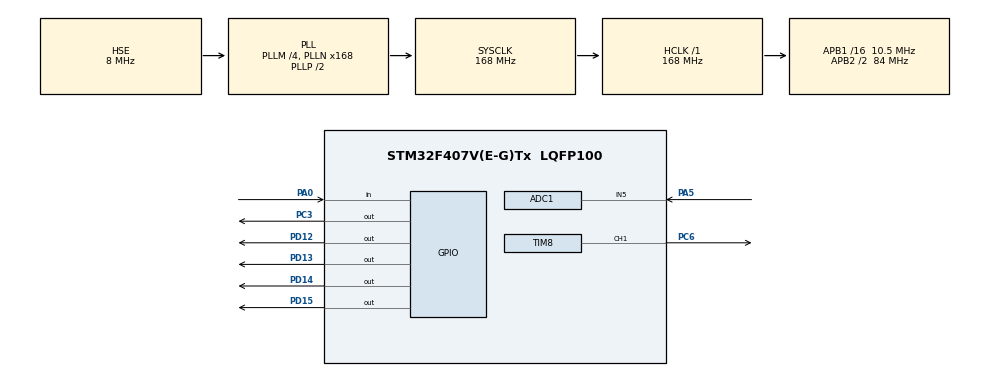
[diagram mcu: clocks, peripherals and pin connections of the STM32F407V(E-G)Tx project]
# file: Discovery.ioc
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ADC1.Channel-4\#ChannelRegularConversion=ADC_CHANNEL_5
ADC1.NbrOfConversionFlag=1
ADC1.Rank-4\#ChannelRegularConversion=1
ADC1.SamplingTime-4\#ChannelRegularConversion=ADC_SAMPLETIME_3CYCLES
ADC1.master=1
Mcu.Family=STM32F4
Mcu.Name=STM32F407V(E-G)Tx
Mcu.Package=LQFP100
Mcu.UserConstants=Value3V,3900
NVIC.ADC_IRQn=true\:0\:0\:false\:false\:true\:true
NVIC.PriorityGroup=NVIC_PRIORITYGROUP_4
NVIC.TIM6_DAC_IRQn=true\:3\:0\:true\:false\:true\:true
NVIC.TIM7_IRQn=true\:3\:0\:true\:false\:true\:true
PA0-WKUP.Signal=GPIO_Input
PA5.Signal=ADCx_IN5
PC3.Signal=GPIO_Output
PC6.GPIO_Speed=GPIO_SPEED_FREQ_HIGH
PC6.Signal=S_TIM8_CH1
PD12.Signal=GPIO_Output
PD13.Signal=GPIO_Output
PD14.Signal=GPIO_Output
PD15.Signal=GPIO_Output
PH0-OSC_IN.Mode=HSE-External-Oscillator
PH0-OSC_IN.Signal=RCC_OSC_IN
PH1-OSC_OUT.Mode=HSE-External-Oscillator
PH1-OSC_OUT.Signal=RCC_OSC_OUT
ProjectManager.HeapSize=0x200
ProjectManager.StackSize=0x400
ProjectManager.TargetToolchain=TrueSTUDIO
RCC.48MHZClocksFreq_Value=84000000
RCC.AHBFreq_Value=168000000
RCC.APB1CLKDivider=RCC_HCLK_DIV16
RCC.APB1Freq_Value=10500000
RCC.APB1TimFreq_Value=21000000
RCC.APB2CLKDivider=RCC_HCLK_DIV2
RCC.APB2Freq_Value=84000000
RCC.APB2TimFreq_Value=168000000
RCC.CortexFreq_Value=168000000
RCC.HCLKFreq_Value=168000000
RCC.HSE_VALUE=8000000
RCC.HSI_VALUE=16000000
RCC.LSE_VALUE=32768
RCC.PLLM=4
RCC.PLLN=168
RCC.PLLSourceVirtual=RCC_PLLSOURCE_HSE
RCC.SYSCLKFreq_VALUE=168000000
RCC.SYSCLKSource=RCC_SYSCLKSOURCE_PLLCLK
RCC.VCOOutputFreq_Value=336000000
SH.ADCx_IN5.0=ADC1_IN5,IN5
SH.S_TIM8_CH1.0=TIM8_CH1,PWM Generation1 CH1
TIM6.Period=500
TIM6.Prescaler=8000
TIM6.TIM_MasterOutputTrigger=TIM_TRGO_UPDATE
TIM7.Period=1
TIM7.Prescaler=8000
TIM7.TIM_MasterOutputTrigger=TIM_TRGO_UPDATE
TIM8.Channel-PWM\ Generation1\ CH1=TIM_CHANNEL_1
TIM8.Period=500
TIM8.Prescaler=1000
VP_TIM6_VS_ClockSourceINT.Mode=Enable_Timer
VP_TIM7_VS_ClockSourceINT.Mode=Enable_Timer
VP_TIM8_VS_ClockSourceINT.Mode=Internal
board=Discovery

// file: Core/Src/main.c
/**
  ******************************************************************************
  * @file           : main.c
  * @brief          : Main program body
  ******************************************************************************
  ** This notice applies to any and all portions of this file
  * that are not between comment pairs USER CODE BEGIN and
  * USER CODE END. Other portions of this file, whether
  * inserted by the user or by software development tools
  * are owned by their respective copyright owners.
  *
  * COPYRIGHT(c) 2018 STMicroelectronics
  *
  * Redistribution and use in source and binary forms, with or without modification,
  * are permitted provided that the following conditions are met:
  *   1. Redistributions of source code must retain the above copyright notice,
  *      this list of conditions and the following disclaimer.
  *   2. Redistributions in binary form must reproduce the above copyright notice,
  *      this list of conditions and the following disclaimer in the documentation
  *      and/or other materials provided with the distribution.
  *   3. Neither the name of STMicroelectronics nor the names of its contributors
  *      may be used to endorse or promote products derived from this software
  *      without specific prior written permission.
  *
  * THIS SOFTWARE IS PROVIDED BY THE COPYRIGHT HOLDERS AND CONTRIBUTORS "AS IS"
  * AND ANY EXPRESS OR IMPLIED WARRANTIES, INCLUDING, BUT NOT LIMITED TO, THE
  * IMPLIED WARRANTIES OF MERCHANTABILITY AND FITNESS FOR A PARTICULAR PURPOSE ARE
  * DISCLAIMED. IN NO EVENT SHALL THE COPYRIGHT HOLDER OR CONTRIBUTORS BE LIABLE
  * FOR ANY DIRECT, INDIRECT, INCIDENTAL, SPECIAL, EXEMPLARY, OR CONSEQUENTIAL
  * DAMAGES (INCLUDING, BUT NOT LIMITED TO, PROCUREMENT OF SUBSTITUTE GOODS OR
  * SERVICES; LOSS OF USE, DATA, OR PROFITS; OR BUSINESS INTERRUPTION) HOWEVER
  * CAUSED AND ON ANY THEORY OF LIABILITY, WHETHER IN CONTRACT, STRICT LIABILITY,
  * OR TORT (INCLUDING NEGLIGENCE OR OTHERWISE) ARISING IN ANY WAY OUT OF THE USE
  * OF THIS SOFTWARE, EVEN IF ADVISED OF THE POSSIBILITY OF SUCH DAMAGE.
  *
  ******************************************************************************
  */
#include "main.h"
#include "stm32f4xx_hal.h"

/* USER CODE BEGIN Includes */
#define ADC1V 1241
/* USER CODE END Includes */

ADC_HandleTypeDef hadc1;

TIM_HandleTypeDef htim6;
TIM_HandleTypeDef htim7;
TIM_HandleTypeDef htim8;

/* USER CODE BEGIN PV */
/* Private variables ---------------------------------------------------------*/

/* USER CODE END PV */

void SystemClock_Config(void);
static void MX_GPIO_Init(void);
static void MX_TIM6_Init(void);
static void MX_TIM7_Init(void);
static void MX_TIM8_Init(void);
static void MX_ADC1_Init(void);

void HAL_TIM_MspPostInit(TIM_HandleTypeDef *htim);

/* USER CODE BEGIN PFP */
/* Private function prototypes -----------------------------------------------*/

/* USER CODE END PFP */

/* USER CODE BEGIN 0 */
void StartInit(void);
void HerzFunc(void);
/* USER CODE END 0 */

int main(void)
{

  /* MCU Configuration----------------------------------------------------------*/

  /* Reset of all peripherals, Initializes the Flash interface and the Systick. */
  HAL_Init();

  /* Configure the system clock */
  SystemClock_Config();

  /* Initialize all configured peripherals */
  MX_GPIO_Init();
  MX_TIM6_Init();
  MX_TIM7_Init();
  MX_TIM8_Init();
  MX_ADC1_Init();
  /* USER CODE BEGIN 2 */
  StartInit();
  /* USER CODE END 2 */

  /* Infinite loop */
  /* USER CODE BEGIN WHILE */
  //*********************************************************************************************************************************************
  uint16_t adcResult;
  while (1)
  {
	  /*HAL_ADC_Start(&hadc1);
	  HAL_ADC_PollForConversion(&hadc1, 100);
	  adcResult = HAL_ADC_GetValue(&hadc1);
	  HAL_ADC_STOP();*/
	  //HAL_GPIO_WritePin(GPIOD, GPIO_PIN_12, SET);
  /* USER CODE END WHILE */

  /* USER CODE BEGIN 3 */
	  HAL_ADC_Start(&hadc1);
	  HAL_ADC_PollForConversion(&hadc1, 100);
	  adcResult = HAL_ADC_GetValue(&hadc1);
	  HAL_ADC_Stop(&hadc1);
	  HAL_Delay(100);
	  if(adcResult >= 2035)
	  {
		  HAL_GPIO_WritePin(GPIOD, GPIO_PIN_12, SET);
	  }
	  else
	  {
		  HAL_GPIO_WritePin(GPIOD, GPIO_PIN_12, RESET);
	  }

  }
  //*********************************************************************************************************************************************
  /* USER CODE END 3 */

}

void SystemClock_Config(void)
{

  RCC_OscInitTypeDef RCC_OscInitStruct;
  RCC_ClkInitTypeDef RCC_ClkInitStruct;

    /**Configure the main internal regulator output voltage
    */
  __HAL_RCC_PWR_CLK_ENABLE();

  __HAL_PWR_VOLTAGESCALING_CONFIG(PWR_REGULATOR_VOLTAGE_SCALE1);

    /**Initializes the CPU, AHB and APB busses clocks
    */
  RCC_OscInitStruct.OscillatorType = RCC_OSCILLATORTYPE_HSE;
  RCC_OscInitStruct.HSEState = RCC_HSE_ON;
  RCC_OscInitStruct.PLL.PLLState = RCC_PLL_ON;
  RCC_OscInitStruct.PLL.PLLSource = RCC_PLLSOURCE_HSE;
  RCC_OscInitStruct.PLL.PLLM = 4;
  RCC_OscInitStruct.PLL.PLLN = 168;
  RCC_OscInitStruct.PLL.PLLP = RCC_PLLP_DIV2;
  RCC_OscInitStruct.PLL.PLLQ = 4;
  if (HAL_RCC_OscConfig(&RCC_OscInitStruct) != HAL_OK)
  {
    _Error_Handler(__FILE__, __LINE__);
  }

    /**Initializes the CPU, AHB and APB busses clocks
    */
  RCC_ClkInitStruct.ClockType = RCC_CLOCKTYPE_HCLK|RCC_CLOCKTYPE_SYSCLK
                              |RCC_CLOCKTYPE_PCLK1|RCC_CLOCKTYPE_PCLK2;
  RCC_ClkInitStruct.SYSCLKSource = RCC_SYSCLKSOURCE_PLLCLK;
  RCC_ClkInitStruct.AHBCLKDivider = RCC_SYSCLK_DIV1;
  RCC_ClkInitStruct.APB1CLKDivider = RCC_HCLK_DIV16;
  RCC_ClkInitStruct.APB2CLKDivider = RCC_HCLK_DIV2;

  if (HAL_RCC_ClockConfig(&RCC_ClkInitStruct, FLASH_LATENCY_5) != HAL_OK)
  {
    _Error_Handler(__FILE__, __LINE__);
  }

    /**Configure the Systick interrupt time
    */
  HAL_SYSTICK_Config(HAL_RCC_GetHCLKFreq()/1000);

    /**Configure the Systick
    */
  HAL_SYSTICK_CLKSourceConfig(SYSTICK_CLKSOURCE_HCLK);

  /* SysTick_IRQn interrupt configuration */
  HAL_NVIC_SetPriority(SysTick_IRQn, 0, 0);
}

/* ADC1 init function */
static void MX_ADC1_Init(void)
{

  ADC_ChannelConfTypeDef sConfig;

    /**Configure the global features of the ADC (Clock, Resolution, Data Alignment and number of conversion)
    */
  hadc1.Instance = ADC1;
  hadc1.Init.ClockPrescaler = ADC_CLOCK_SYNC_PCLK_DIV4;
  hadc1.Init.Resolution = ADC_RESOLUTION_12B;
  hadc1.Init.ScanConvMode = DISABLE;
  hadc1.Init.ContinuousConvMode = DISABLE;
  hadc1.Init.DiscontinuousConvMode = DISABLE;
  hadc1.Init.ExternalTrigConvEdge = ADC_EXTERNALTRIGCONVEDGE_NONE;
  hadc1.Init.ExternalTrigConv = ADC_SOFTWARE_START;
  hadc1.Init.DataAlign = ADC_DATAALIGN_RIGHT;
  hadc1.Init.NbrOfConversion = 1;
  hadc1.Init.DMAContinuousRequests = DISABLE;
  hadc1.Init.EOCSelection = ADC_EOC_SINGLE_CONV;
  if (HAL_ADC_Init(&hadc1) != HAL_OK)
  {
    _Error_Handler(__FILE__, __LINE__);
  }

    /**Configure for the selected ADC regular channel its corresponding rank in the sequencer and its sample time.
    */
  sConfig.Channel = ADC_CHANNEL_5;
  sConfig.Rank = 1;
  sConfig.SamplingTime = ADC_SAMPLETIME_3CYCLES;
  if (HAL_ADC_ConfigChannel(&hadc1, &sConfig) != HAL_OK)
  {
    _Error_Handler(__FILE__, __LINE__);
  }

}

/* TIM6 init function */
static void MX_TIM6_Init(void)
{

  TIM_MasterConfigTypeDef sMasterConfig;

  htim6.Instance = TIM6;
  htim6.Init.Prescaler = 8000;
  htim6.Init.CounterMode = TIM_COUNTERMODE_UP;
  htim6.Init.Period = 500;
  if (HAL_TIM_Base_Init(&htim6) != HAL_OK)
  {
    _Error_Handler(__FILE__, __LINE__);
  }

  sMasterConfig.MasterOutputTrigger = TIM_TRGO_UPDATE;
  sMasterConfig.MasterSlaveMode = TIM_MASTERSLAVEMODE_DISABLE;
  if (HAL_TIMEx_MasterConfigSynchronization(&htim6, &sMasterConfig) != HAL_OK)
  {
    _Error_Handler(__FILE__, __LINE__);
  }

}

/* TIM7 init function */
static void MX_TIM7_Init(void)
{

  TIM_MasterConfigTypeDef sMasterConfig;

  htim7.Instance = TIM7;
  htim7.Init.Prescaler = 8000;
  htim7.Init.CounterMode = TIM_COUNTERMODE_UP;
  htim7.Init.Period = 1;
  if (HAL_TIM_Base_Init(&htim7) != HAL_OK)
  {
    _Error_Handler(__FILE__, __LINE__);
  }

  sMasterConfig.MasterOutputTrigger = TIM_TRGO_UPDATE;
  sMasterConfig.MasterSlaveMode = TIM_MASTERSLAVEMODE_DISABLE;
  if (HAL_TIMEx_MasterConfigSynchronization(&htim7, &sMasterConfig) != HAL_OK)
  {
    _Error_Handler(__FILE__, __LINE__);
  }

}

/* TIM8 init function */
static void MX_TIM8_Init(void)
{

  TIM_ClockConfigTypeDef sClockSourceConfig;
  TIM_MasterConfigTypeDef sMasterConfig;
  TIM_OC_InitTypeDef sConfigOC;
  TIM_BreakDeadTimeConfigTypeDef sBreakDeadTimeConfig;

  htim8.Instance = TIM8;
  htim8.Init.Prescaler = 1000;
  htim8.Init.CounterMode = TIM_COUNTERMODE_UP;
  htim8.Init.Period = 500;
  htim8.Init.ClockDivision = TIM_CLOCKDIVISION_DIV1;
  htim8.Init.RepetitionCounter = 0;
  if (HAL_TIM_Base_Init(&htim8) != HAL_OK)
  {
    _Error_Handler(__FILE__, __LINE__);
  }

  sClockSourceConfig.ClockSource = TIM_CLOCKSOURCE_INTERNAL;
  if (HAL_TIM_ConfigClockSource(&htim8, &sClockSourceConfig) != HAL_OK)
  {
    _Error_Handler(__FILE__, __LINE__);
  }

  if (HAL_TIM_PWM_Init(&htim8) != HAL_OK)
  {
    _Error_Handler(__FILE__, __LINE__);
  }

  sMasterConfig.MasterOutputTrigger = TIM_TRGO_RESET;
  sMasterConfig.MasterSlaveMode = TIM_MASTERSLAVEMODE_DISABLE;
  if (HAL_TIMEx_MasterConfigSynchronization(&htim8, &sMasterConfig) != HAL_OK)
  {
    _Error_Handler(__FILE__, __LINE__);
  }

  sConfigOC.OCMode = TIM_OCMODE_PWM1;
  sConfigOC.Pulse = 0;
  sConfigOC.OCPolarity = TIM_OCPOLARITY_HIGH;
  sConfigOC.OCNPolarity = TIM_OCNPOLARITY_HIGH;
  sConfigOC.OCFastMode = TIM_OCFAST_DISABLE;
  sConfigOC.OCIdleState = TIM_OCIDLESTATE_RESET;
  sConfigOC.OCNIdleState = TIM_OCNIDLESTATE_RESET;
  if (HAL_TIM_PWM_ConfigChannel(&htim8, &sConfigOC, TIM_CHANNEL_1) != HAL_OK)
  {
    _Error_Handler(__FILE__, __LINE__);
  }

  sBreakDeadTimeConfig.OffStateRunMode = TIM_OSSR_DISABLE;
  sBreakDeadTimeConfig.OffStateIDLEMode = TIM_OSSI_DISABLE;
  sBreakDeadTimeConfig.LockLevel = TIM_LOCKLEVEL_OFF;
  sBreakDeadTimeConfig.DeadTime = 0;
  sBreakDeadTimeConfig.BreakState = TIM_BREAK_DISABLE;
  sBreakDeadTimeConfig.BreakPolarity = TIM_BREAKPOLARITY_HIGH;
  sBreakDeadTimeConfig.AutomaticOutput = TIM_AUTOMATICOUTPUT_DISABLE;
  if (HAL_TIMEx_ConfigBreakDeadTime(&htim8, &sBreakDeadTimeConfig) != HAL_OK)
  {
    _Error_Handler(__FILE__, __LINE__);
  }

  HAL_TIM_MspPostInit(&htim8);

}

/** Configure pins as
        * Analog
        * Input
        * Output
        * EVENT_OUT
        * EXTI
*/
static void MX_GPIO_Init(void)
{

  GPIO_InitTypeDef GPIO_InitStruct;

  /* GPIO Ports Clock Enable */
  __HAL_RCC_GPIOH_CLK_ENABLE();
  __HAL_RCC_GPIOC_CLK_ENABLE();
  __HAL_RCC_GPIOA_CLK_ENABLE();
  __HAL_RCC_GPIOD_CLK_ENABLE();

  /*Configure GPIO pin Output Level */
  HAL_GPIO_WritePin(GPIOC, GPIO_PIN_3, GPIO_PIN_RESET);

  /*Configure GPIO pin Output Level */
  HAL_GPIO_WritePin(GPIOD, GPIO_PIN_12|GPIO_PIN_13|GPIO_PIN_14|GPIO_PIN_15, GPIO_PIN_RESET);

  /*Configure GPIO pin : PC3 */
  GPIO_InitStruct.Pin = GPIO_PIN_3;
  GPIO_InitStruct.Mode = GPIO_MODE_OUTPUT_PP;
  GPIO_InitStruct.Pull = GPIO_NOPULL;
  GPIO_InitStruct.Speed = GPIO_SPEED_FREQ_LOW;
  HAL_GPIO_Init(GPIOC, &GPIO_InitStruct);

  /*Configure GPIO pin : PA0 */
  GPIO_InitStruct.Pin = GPIO_PIN_0;
  GPIO_InitStruct.Mode = GPIO_MODE_INPUT;
  GPIO_InitStruct.Pull = GPIO_NOPULL;
  HAL_GPIO_Init(GPIOA, &GPIO_InitStruct);

  /*Configure GPIO pins : PD12 PD13 PD14 PD15 */
  GPIO_InitStruct.Pin = GPIO_PIN_12|GPIO_PIN_13|GPIO_PIN_14|GPIO_PIN_15;
  GPIO_InitStruct.Mode = GPIO_MODE_OUTPUT_PP;
  GPIO_InitStruct.Pull = GPIO_NOPULL;
  GPIO_InitStruct.Speed = GPIO_SPEED_FREQ_LOW;
  HAL_GPIO_Init(GPIOD, &GPIO_InitStruct);

}

/* USER CODE BEGIN 4 */
//////////////////////////////////////////////////////////////////////////////////////////////////////////////////////////////////////////////////////////////////////////////////////////////////////////////////////////////////////////////////////////
void StartInit()
{
	HAL_TIM_Base_Start(&htim6);
	HAL_TIM_Base_Start_IT(&htim6);
	HAL_TIM_Base_Start(&htim7);
	HAL_TIM_Base_Start_IT(&htim7);

}
//////////////////////////////////////////////////////////////////////////////////////////////////////////////////////////////////////////////////////////////////////////////////////////////////////////////////////////////////////////////////////////
/* USER CODE END 4 */

void _Error_Handler(char *file, int line)
{
  while(1)
  {
  }
}
void HerzFunc(void)
{
	 HAL_ADC_Start(&hadc1);
	 HAL_ADC_PollForConversion(&hadc1, 100);
     uint16_t adcResult = HAL_ADC_GetValue(&hadc1);
	 HAL_ADC_Stop(&hadc1);
	 if(adcResult >= 2100)
	 {
	  HAL_GPIO_WritePin(GPIOD, GPIO_PIN_12, SET);
	 }
	 else
	 {
	  HAL_GPIO_WritePin(GPIOD, GPIO_PIN_12, RESET);
	 }
}

/************************ (C) COPYRIGHT STMicroelectronics *****END OF FILE****/
